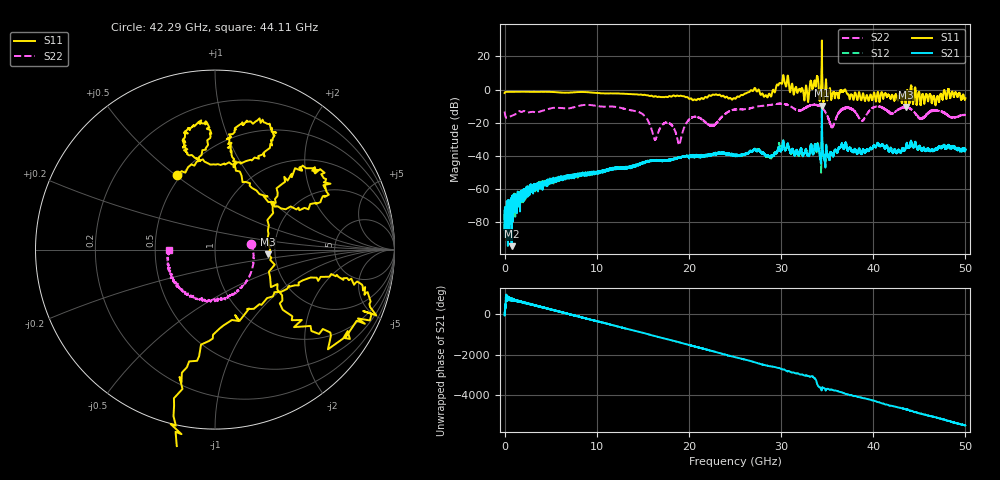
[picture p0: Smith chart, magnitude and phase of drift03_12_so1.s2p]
!Created with skrf (http://scikit-rf.org).
# Hz S RI R 50.0
!freq ReS11 ImS11 ReS21 ImS21 ReS12 ImS12 ReS22 ImS22
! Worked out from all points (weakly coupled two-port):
!   10000 points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, 5.3 MHz to 50 GHz, reference 50 ohm
!   highest |S21| = -9.71 dB at 34.43 GHz (marker M1); lowest = -94.4 dB at 760.3 MHz (marker M2)
!   lowest |S11| = -10.5 dB at 43.53 GHz (marker M3), VSWR 1.85, Z = 92 - j5.35 ohm
!   |S11| at or under -10 dB: 43.49997 GHz to 43.53485 GHz (34.88 MHz wide, 0.0802 % of centre); 43.53597 GHz to 43.54059 GHz (4.62 MHz wide, 0.0106 % of centre)
!   |S22| runs from -33.3 to -8.5 dB; largest |S21 - S12| = 0.096
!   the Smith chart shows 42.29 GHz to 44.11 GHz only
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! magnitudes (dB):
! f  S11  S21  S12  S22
! 5.3 MHz  -2.1  -73.0  -74.8  -13.3
! 760.3 MHz  -1.4  -94.4  -70.2  -15.9
! 3.48 GHz  -1.4  -58.4  -58.5  -13.8
! 8.34 GHz  -1.5  -51.9  -51.9  -9.5
! 14.52 GHz  -3.1  -45.4  -45.1  -13.5
! 16.67 GHz  -4.4  -42.8  -42.9  -25.8
! 17.82 GHz  -4.2  -42.4  -42.5  -20.2
! 18.96 GHz  -4.0  -41.0  -40.9  -33.2
! 20.28 GHz  -5.5  -40.1  -39.8  -17.0
! 22.58 GHz  -3.1  -39.3  -39.1  -21.9
! 25.01 GHz  -5.5  -39.6  -39.6  -12.1
! 28.72 GHz  -2.5  -40.3  -40.4  -9.4
! 30.14 GHz  4.4  -33.6  -33.8  -8.5
! 32.74 GHz  2.0  -36.8  -36.4  -10.7
! 33.34 GHz  2.5  -35.0  -35.0  -9.4
! 34.43 GHz  29.6  -9.7  -11.8  -10.9
! 35.54 GHz  -3.1  -39.0  -38.9  -22.8
! 36.98 GHz  -0.1  -32.5  -32.7  -11.3
! 38.76 GHz  -5.7  -38.2  -38.1  -18.9
! 41.67 GHz  -3.3  -36.7  -36.9  -13.1
! 43.53 GHz  -10.5  -35.1  -35.0  -10.6
! 50 GHz  -5.3  -35.9  -36.3  -15.4
